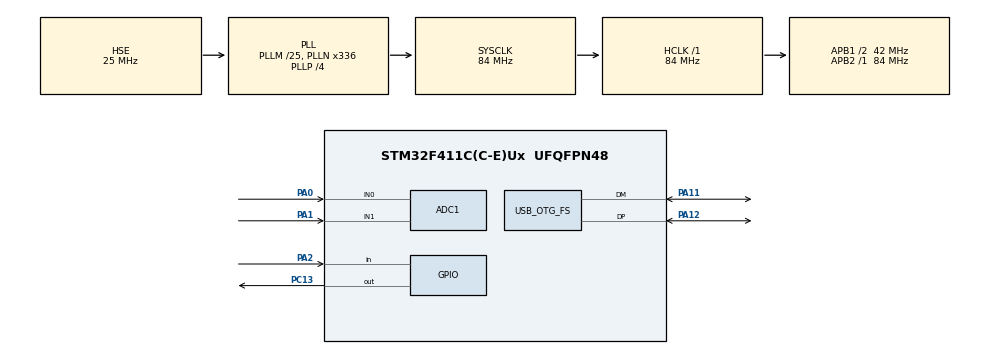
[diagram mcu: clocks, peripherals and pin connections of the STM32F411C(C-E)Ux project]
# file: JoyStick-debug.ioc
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ADC1.Channel-5\#ChannelRegularConversion=ADC_CHANNEL_0
ADC1.Channel-6\#ChannelRegularConversion=ADC_CHANNEL_0
ADC1.ContinuousConvMode=ENABLE
ADC1.DMAContinuousRequests=ENABLE
ADC1.NbrOfConversion=2
ADC1.NbrOfConversionFlag=1
ADC1.Rank-5\#ChannelRegularConversion=1
ADC1.Rank-6\#ChannelRegularConversion=2
ADC1.SamplingTime-5\#ChannelRegularConversion=ADC_SAMPLETIME_3CYCLES
ADC1.SamplingTime-6\#ChannelRegularConversion=ADC_SAMPLETIME_3CYCLES
ADC1.master=1
Dma.ADC1.0.Direction=DMA_PERIPH_TO_MEMORY
Dma.ADC1.0.FIFOMode=DMA_FIFOMODE_DISABLE
Dma.ADC1.0.Instance=DMA2_Stream0
Dma.ADC1.0.MemDataAlignment=DMA_MDATAALIGN_HALFWORD
Dma.ADC1.0.MemInc=DMA_MINC_ENABLE
Dma.ADC1.0.Mode=DMA_CIRCULAR
Dma.ADC1.0.PeriphDataAlignment=DMA_PDATAALIGN_HALFWORD
Dma.ADC1.0.PeriphInc=DMA_PINC_DISABLE
Dma.ADC1.0.Priority=DMA_PRIORITY_MEDIUM
Dma.Request0=ADC1
Mcu.Family=STM32F4
Mcu.Name=STM32F411C(C-E)Ux
Mcu.Package=UFQFPN48
NVIC.DMA2_Stream0_IRQn=true\:0\:0\:false\:false\:true\:false\:true\:true
NVIC.OTG_FS_IRQn=true\:0\:0\:false\:false\:true\:false\:true\:true
NVIC.PriorityGroup=NVIC_PRIORITYGROUP_4
PA0-WKUP.Signal=ADCx_IN0
PA1.Signal=ADCx_IN1
PA11.Mode=Device_Only
PA11.Signal=USB_OTG_FS_DM
PA12.Mode=Device_Only
PA12.Signal=USB_OTG_FS_DP
PA13.Mode=Serial_Wire
PA13.Signal=SYS_JTMS-SWDIO
PA14.Mode=Serial_Wire
PA14.Signal=SYS_JTCK-SWCLK
PA2.Signal=GPIO_Input
PC13-ANTI_TAMP.Signal=GPIO_Output
PC14-OSC32_IN.Mode=LSE-External-Oscillator
PC14-OSC32_IN.Signal=RCC_OSC32_IN
PC15-OSC32_OUT.Mode=LSE-External-Oscillator
PC15-OSC32_OUT.Signal=RCC_OSC32_OUT
PH0\ -\ OSC_IN.Mode=HSE-External-Oscillator
PH0\ -\ OSC_IN.Signal=RCC_OSC_IN
PH1\ -\ OSC_OUT.Mode=HSE-External-Oscillator
PH1\ -\ OSC_OUT.Signal=RCC_OSC_OUT
ProjectManager.HeapSize=0x200
ProjectManager.StackSize=0x400
ProjectManager.TargetToolchain=CMake
RCC.48MHZClocksFreq_Value=48000000
RCC.AHBFreq_Value=84000000
RCC.APB1CLKDivider=RCC_HCLK_DIV2
RCC.APB1Freq_Value=42000000
RCC.APB1TimFreq_Value=84000000
RCC.APB2Freq_Value=84000000
RCC.APB2TimFreq_Value=84000000
RCC.CortexFreq_Value=84000000
RCC.HCLKFreq_Value=84000000
RCC.HSE_VALUE=25000000
RCC.HSI_VALUE=16000000
RCC.LockedElements=USBOTGOutput
RCC.PLLM=25
RCC.PLLN=336
RCC.PLLP=RCC_PLLP_DIV4
RCC.PLLQ=7
RCC.SYSCLKFreq_VALUE=84000000
RCC.SYSCLKSource=RCC_SYSCLKSOURCE_PLLCLK
RCC.VCOOutputFreq_Value=336000000
SH.ADCx_IN0.0=ADC1_IN0,IN0
SH.ADCx_IN1.0=ADC1_IN1,IN1
USB_DEVICE.CLASS_NAME_FS=CDC
USB_DEVICE.VirtualMode=Cdc
USB_DEVICE.VirtualModeFS=Cdc_FS
USB_OTG_FS.VirtualMode=Device_Only
VP_USB_DEVICE_VS_USB_DEVICE_CDC_FS.Mode=CDC_FS
board=custom

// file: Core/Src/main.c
/* USER CODE BEGIN Header */
/**
 ******************************************************************************
 * @file           : main.c
 * @brief          : KY-023 JOYSTICK - WORKING VERSION
 ******************************************************************************
 */
/* USER CODE END Header */

#include "main.h"
#include "usb_device.h"
#include "usbd_cdc_if.h"
#include "KY023.h"

/* USER CODE BEGIN Includes */
#include <stdio.h>
#include <stdarg.h>
#include <string.h>
/* USER CODE END Includes */

/* USER CODE BEGIN PD */
#define JOYSTICK_SW_PIN GPIO_PIN_2
#define JOYSTICK_SW_PORT GPIOA
/* USER CODE END PD */

ADC_HandleTypeDef hadc1;
DMA_HandleTypeDef hdma_adc1;

/* USER CODE BEGIN PV */
char msg[100];
uint16_t x_raw = 0;
uint16_t y_raw = 0;
KY023_HandleTypeDef ky023;

volatile uint8_t button_state = 1;
volatile uint32_t last_debounce = 0;
volatile uint32_t trigger_x_count = 0;
volatile uint32_t trigger_y_count = 0;
/* USER CODE END PV */

void SystemClock_Config(void);
static void MX_GPIO_Init(void);
static void MX_DMA_Init(void);
static void MX_ADC1_Init(void);

/* USER CODE BEGIN PFP */
void usb_printf(const char* format, ...);
void read_joystick(void);
void check_button(void);

// Коллбеки
void on_x_positive(KY023_HandleTypeDef* ky);
void on_x_negative(KY023_HandleTypeDef* ky);
void on_y_positive(KY023_HandleTypeDef* ky);
void on_y_negative(KY023_HandleTypeDef* ky);
void on_x_trigger(KY023_HandleTypeDef* ky);
void on_y_trigger(KY023_HandleTypeDef* ky);
/* USER CODE END PFP */

/* USER CODE BEGIN 0 */

void usb_printf(const char* format, ...)
{
  va_list args;
  va_start(args, format);
  int len = vsnprintf(msg, sizeof(msg), format, args);
  va_end(args);

  if (len > 0 && len < sizeof(msg))
  {
    CDC_Transmit_FS((uint8_t*)msg, len);
    HAL_Delay(20);
  }
}

void read_joystick(void)
{
  // Читаем X (PA0)
  HAL_ADC_Start(&hadc1);
  if (HAL_ADC_PollForConversion(&hadc1, 100) == HAL_OK)
  {
    x_raw = HAL_ADC_GetValue(&hadc1);
  }

  // Читаем Y (PA1) - меняем канал
  ADC_ChannelConfTypeDef sConfig = {0};
  sConfig.Channel = ADC_CHANNEL_1;
  sConfig.Rank = 1;
  sConfig.SamplingTime = ADC_SAMPLETIME_15CYCLES;
  HAL_ADC_ConfigChannel(&hadc1, &sConfig);

  HAL_ADC_Start(&hadc1);
  if (HAL_ADC_PollForConversion(&hadc1, 100) == HAL_OK)
  {
    y_raw = HAL_ADC_GetValue(&hadc1);
  }

  // Возвращаем канал на X для следующего цикла
  sConfig.Channel = ADC_CHANNEL_0;
  HAL_ADC_ConfigChannel(&hadc1, &sConfig);
}

void check_button(void)
{
  uint32_t now = HAL_GetTick();
  uint8_t reading = HAL_GPIO_ReadPin(JOYSTICK_SW_PORT, JOYSTICK_SW_PIN);

  if (reading != button_state)
  {
    if ((now - last_debounce) > 50)
    {
      button_state = reading;
      if (button_state == 0)
      {
        usb_printf("[BUTTON PRESSED]\r\n");
      }
      last_debounce = now;
    }
  }
}

void on_x_positive(KY023_HandleTypeDef* ky)
{
  usb_printf("[RIGHT] %d%%\r\n", KY023_GetX(ky));
}

void on_x_negative(KY023_HandleTypeDef* ky)
{
  usb_printf("[LEFT] %d%%\r\n", KY023_GetX(ky));
}

void on_y_positive(KY023_HandleTypeDef* ky)
{
  usb_printf("[UP] %d%%\r\n", KY023_GetY(ky));
}

void on_y_negative(KY023_HandleTypeDef* ky)
{
  usb_printf("[DOWN] %d%%\r\n", KY023_GetY(ky));
}

void on_x_trigger(KY023_HandleTypeDef* ky)
{
  trigger_x_count++;
  usb_printf("\r\n*** X TRIGGER #%lu! %d%% ***\r\n\r\n", trigger_x_count, KY023_GetX(ky));
}

void on_y_trigger(KY023_HandleTypeDef* ky)
{
  trigger_y_count++;
  usb_printf("\r\n*** Y TRIGGER #%lu! %d%% ***\r\n\r\n", trigger_y_count, KY023_GetY(ky));
}

/* USER CODE END 0 */

int main(void)
{
  HAL_Init();
  SystemClock_Config();
  MX_GPIO_Init();
  MX_DMA_Init();
  MX_ADC1_Init();
  MX_USB_DEVICE_Init();

  /* USER CODE BEGIN 2 */

  // Мигаем 3 раза
  for (int i = 0; i < 3; i++)
  {
    HAL_GPIO_WritePin(GPIOC, GPIO_PIN_13, GPIO_PIN_RESET);
    HAL_Delay(200);
    HAL_GPIO_WritePin(GPIOC, GPIO_PIN_13, GPIO_PIN_SET);
    HAL_Delay(200);
  }

  HAL_Delay(2000);

  // Инициализация KY023
  KY023_Init(&ky023, 5);

  // Регистрация коллбеков
  KY023_OnXPositive = on_x_positive;
  KY023_OnXNegative = on_x_negative;
  KY023_OnYPositive = on_y_positive;
  KY023_OnYNegative = on_y_negative;
  KY023_OnXTrigger = on_x_trigger;
  KY023_OnYTrigger = on_y_trigger;

  // Настройка триггеров
  KY023_SetXTrigger(&ky023, 70, 15);
  KY023_SetYTrigger(&ky023, 70, 15);

  usb_printf("\r\n================================\r\n");
  usb_printf("KY-023 JOYSTICK READY!\r\n");
  usb_printf("Deadzone: 5%% | Trigger: 70%%\r\n");
  usb_printf("================================\r\n\r\n");

  HAL_Delay(500);

  /* USER CODE END 2 */

  uint32_t last_print = 0;

  while (1)
  {
    // Читаем ADC
    read_joystick();

    // Обновляем джойстик
    KY023_SetRawValues(&ky023, x_raw, y_raw);
    KY023_Update(&ky023);

    // Проверяем кнопку
    check_button();

    // Выводим сырые данные каждые 500ms
    if ((HAL_GetTick() - last_print) > 500)
    {
      usb_printf("[RAW] X:%4d Y:%4d | [NORM] X:%3d%% Y:%3d%%\r\n", x_raw, y_raw, KY023_GetX(&ky023),
                 KY023_GetY(&ky023));
      last_print = HAL_GetTick();
    }

    // Мигаем LED
    HAL_GPIO_TogglePin(GPIOC, GPIO_PIN_13);

    HAL_Delay(100);
  }
}

void SystemClock_Config(void)
{
  RCC_OscInitTypeDef RCC_OscInitStruct = {0};
  RCC_ClkInitTypeDef RCC_ClkInitStruct = {0};

  __HAL_RCC_PWR_CLK_ENABLE();
  __HAL_PWR_VOLTAGESCALING_CONFIG(PWR_REGULATOR_VOLTAGE_SCALE1);

  RCC_OscInitStruct.OscillatorType = RCC_OSCILLATORTYPE_HSE;
  RCC_OscInitStruct.HSEState = RCC_HSE_ON;
  RCC_OscInitStruct.PLL.PLLState = RCC_PLL_ON;
  RCC_OscInitStruct.PLL.PLLSource = RCC_PLLSOURCE_HSE;
  RCC_OscInitStruct.PLL.PLLM = 25;
  RCC_OscInitStruct.PLL.PLLN = 336;
  RCC_OscInitStruct.PLL.PLLP = RCC_PLLP_DIV4;
  RCC_OscInitStruct.PLL.PLLQ = 7;
  if (HAL_RCC_OscConfig(&RCC_OscInitStruct) != HAL_OK)
  {
    Error_Handler();
  }

  RCC_ClkInitStruct.ClockType = RCC_CLOCKTYPE_HCLK | RCC_CLOCKTYPE_SYSCLK | RCC_CLOCKTYPE_PCLK1 | RCC_CLOCKTYPE_PCLK2;
  RCC_ClkInitStruct.SYSCLKSource = RCC_SYSCLKSOURCE_PLLCLK;
  RCC_ClkInitStruct.AHBCLKDivider = RCC_SYSCLK_DIV1;
  RCC_ClkInitStruct.APB1CLKDivider = RCC_HCLK_DIV2;
  RCC_ClkInitStruct.APB2CLKDivider = RCC_HCLK_DIV1;

  if (HAL_RCC_ClockConfig(&RCC_ClkInitStruct, FLASH_LATENCY_2) != HAL_OK)
  {
    Error_Handler();
  }
}

static void MX_ADC1_Init(void)
{
  ADC_ChannelConfTypeDef sConfig = {0};

  hadc1.Instance = ADC1;
  hadc1.Init.ClockPrescaler = ADC_CLOCK_SYNC_PCLK_DIV4;
  hadc1.Init.Resolution = ADC_RESOLUTION_12B;
  hadc1.Init.ScanConvMode = DISABLE;
  hadc1.Init.ContinuousConvMode = DISABLE;
  hadc1.Init.DiscontinuousConvMode = DISABLE;
  hadc1.Init.ExternalTrigConvEdge = ADC_EXTERNALTRIGCONVEDGE_NONE;
  hadc1.Init.DataAlign = ADC_DATAALIGN_RIGHT;
  hadc1.Init.NbrOfConversion = 1;
  hadc1.Init.DMAContinuousRequests = DISABLE;
  hadc1.Init.EOCSelection = ADC_EOC_SINGLE_CONV;
  HAL_ADC_Init(&hadc1);

  sConfig.Channel = ADC_CHANNEL_0;
  sConfig.Rank = 1;
  sConfig.SamplingTime = ADC_SAMPLETIME_15CYCLES;
  HAL_ADC_ConfigChannel(&hadc1, &sConfig);
}

static void MX_DMA_Init(void)
{
  __HAL_RCC_DMA2_CLK_ENABLE();
  HAL_NVIC_SetPriority(DMA2_Stream0_IRQn, 0, 0);
  HAL_NVIC_EnableIRQ(DMA2_Stream0_IRQn);
}

static void MX_GPIO_Init(void)
{
  GPIO_InitTypeDef GPIO_InitStruct = {0};

  __HAL_RCC_GPIOC_CLK_ENABLE();
  __HAL_RCC_GPIOH_CLK_ENABLE();
  __HAL_RCC_GPIOA_CLK_ENABLE();

  HAL_GPIO_WritePin(GPIOC, GPIO_PIN_13, GPIO_PIN_SET);
  GPIO_InitStruct.Pin = GPIO_PIN_13;
  GPIO_InitStruct.Mode = GPIO_MODE_OUTPUT_PP;
  GPIO_InitStruct.Pull = GPIO_NOPULL;
  GPIO_InitStruct.Speed = GPIO_SPEED_FREQ_LOW;
  HAL_GPIO_Init(GPIOC, &GPIO_InitStruct);

  // Кнопка джойстика
  GPIO_InitStruct.Pin = JOYSTICK_SW_PIN;
  GPIO_InitStruct.Mode = GPIO_MODE_INPUT;
  GPIO_InitStruct.Pull = GPIO_PULLUP;
  HAL_GPIO_Init(JOYSTICK_SW_PORT, &GPIO_InitStruct);
}

void Error_Handler(void)
{
  while (1)
  {
    HAL_GPIO_TogglePin(GPIOC, GPIO_PIN_13);
    HAL_Delay(100);
  }
}
